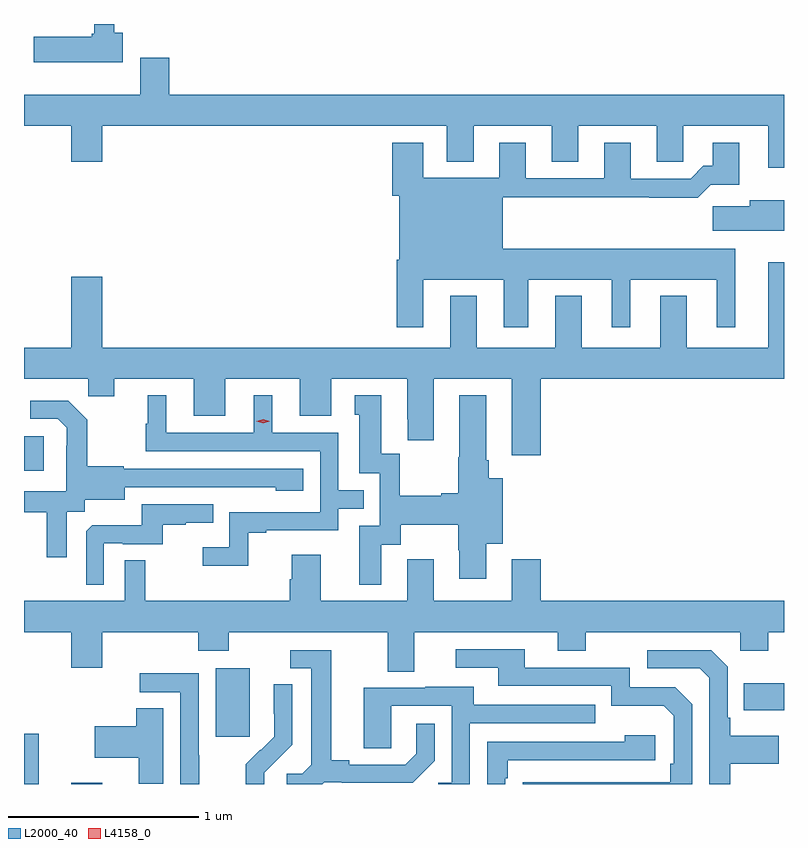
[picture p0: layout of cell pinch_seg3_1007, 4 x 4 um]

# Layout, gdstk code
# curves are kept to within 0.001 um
import gdstk
lib = gdstk.Library(unit=1e-6, precision=1e-09)
def R(c, l, rs):  # rectangles x0, y0, x1, y1
    for r in rs: c.add(gdstk.rectangle(r[:2], r[2:], *l))
def P(c, l, *ps):  # polygons
    for p in ps: c.add(gdstk.Polygon(p, *l))
L2000_40 = (2000, 40)
L4158_0 = (4158, 0)

pinch_seg3_1007 = lib.new_cell('pinch_seg3_1007')
R(pinch_seg3_1007, L2000_40, [(380.543,674.808,380.62,675.072), (380.792,674.808,380.956,674.815), (381.551,675.057,381.73,675.418), (384.331,675.197,384.543,675.337), (380.543,676.458,380.647,676.638)])
P(pinch_seg3_1007, L2000_40, [(381.064,678.762),(381.019,678.762),(381.019,678.808),(380.912,678.808),(380.912,678.756),(380.899,678.756),(380.899,678.742),(380.595,678.742),(380.595,678.608),(381.064,678.608)],
  [(381.308,678.631),(381.155,678.631),(381.155,678.436),(380.543,678.436),(380.543,678.272),(380.792,678.272),(380.792,678.084),(380.956,678.084),(380.956,678.272),(382.769,678.272),(382.769,678.083),(382.909,678.083),(382.909,678.272),(383.321,678.272),(383.321,678.082),(383.461,678.082),(383.461,678.272),(383.873,678.272),(383.873,678.082),(384.012,678.082),(384.012,678.272),(384.461,678.272),(384.461,678.051),(384.543,678.051),(384.543,678.436),(381.308,678.436)],
  [(382.645,677.462),(383.069,677.462),(383.069,677.211),(383.197,677.211),(383.197,677.462),(383.636,677.462),(383.636,677.211),(383.734,677.211),(383.734,677.462),(384.188,677.462),(384.188,677.211),(384.286,677.211),(384.286,677.626),(383.062,677.626),(383.062,677.896),(383.833,677.896),(383.833,677.894),(384.089,677.894),(384.158,677.963),(384.307,677.963),(384.307,678.184),(384.167,678.184),(384.167,678.061),(384.118,678.061),(384.051,677.994),(383.737,677.994),(383.737,678.184),(383.597,678.184),(383.597,677.997),(383.185,677.997),(383.185,678.184),(383.045,678.184),(383.045,677.998),(382.645,677.998),(382.645,678.184),(382.481,678.184),(382.481,677.904),(382.517,677.904),(382.517,677.566),(382.505,677.566),(382.505,677.211),(382.645,677.211)],
  [(384.543,677.881),(384.362,677.881),(384.362,677.849),(384.168,677.849),(384.168,677.72),(384.543,677.72)],
  [(383.264,676.94),(384.543,676.94),(384.543,677.554),(384.461,677.554),(384.461,677.104),(384.031,677.104),(384.031,677.377),(383.891,677.377),(383.891,677.104),(383.479,677.104),(383.479,677.377),(383.339,677.377),(383.339,677.104),(382.927,677.104),(382.927,677.377),(382.787,677.377),(382.787,677.104),(380.956,677.104),(380.956,677.479),(380.792,677.479),(380.792,677.104),(380.543,677.104),(380.543,676.94),(380.881,676.94),(380.881,676.85),(381.019,676.85),(381.019,676.94),(381.437,676.94),(381.437,676.746),(381.601,676.746),(381.601,676.94),(381.995,676.94),(381.995,676.746),(382.159,676.746),(382.159,676.94),(382.559,676.94),(382.559,676.729),(382.562,676.729),(382.562,676.617),(382.699,676.617),(382.699,676.94),(383.111,676.94),(383.111,676.539),(383.264,676.539)],
  [(381.723,676.131),(381.817,676.131),(381.817,676.143),(382.197,676.143),(382.197,676.257),(382.331,676.257),(382.331,676.353),(382.197,676.353),(382.197,676.656),(381.85,676.656),(381.85,676.855),(381.752,676.855),(381.752,676.656),(381.292,676.656),(381.292,676.855),(381.194,676.855),(381.194,676.704),(381.183,676.704),(381.183,676.56),(382.101,676.56),(382.101,676.239),(381.624,676.239),(381.624,676.054),(381.483,676.054),(381.483,675.956),(381.723,675.956)],
  [(382.423,676.066),(382.525,676.066),(382.525,676.172),(382.828,676.172),(382.828,676.038),(382.835,676.038),(382.835,675.888),(382.975,675.888),(382.975,676.073),(383.062,676.073),(383.062,676.417),(382.988,676.417),(382.988,676.513),(382.975,676.513),(382.975,676.855),(382.835,676.855),(382.835,676.529),(382.828,676.529),(382.828,676.337),(382.739,676.337),(382.739,676.324),(382.521,676.324),(382.521,676.547),(382.423,676.547),(382.423,676.855),(382.283,676.855),(382.283,676.752),(382.307,676.752),(382.307,676.443),(382.416,676.443),(382.416,676.167),(382.307,676.167),(382.307,675.858),(382.423,675.858)],
  [(380.767,676.24),(380.862,676.24),(380.862,676.304),(381.073,676.304),(381.073,676.371),(381.867,676.37),(381.867,676.352),(382.012,676.352),(382.012,676.467),(381.069,676.467),(381.069,676.48),(380.877,676.48),(380.877,676.725),(380.777,676.825),(380.577,676.825),(380.577,676.731),(380.721,676.731),(380.768,676.684),(380.768,676.589),(380.766,676.589),(380.766,676.348),(380.543,676.348),(380.543,676.238),(380.663,676.238),(380.663,676.002),(380.767,676.002)],
  [(380.964,676.074),(381.064,676.074),(381.064,676.071),(381.272,676.071),(381.272,676.173),(381.395,676.173),(381.395,676.184),(381.539,676.184),(381.539,676.281),(381.162,676.281),(381.162,676.169),(380.903,676.169),(380.871,676.137),(380.871,675.857),(380.964,675.857)],
  [(382.597,675.608),(383.351,675.608),(383.351,675.509),(383.499,675.509),(383.499,675.608),(384.312,675.608),(384.312,675.509),(384.459,675.509),(384.459,675.608),(384.543,675.608),(384.543,675.772),(383.264,675.772),(383.264,675.991),(383.111,675.991),(383.111,675.772),(382.699,675.772),(382.699,675.991),(382.559,675.991),(382.559,675.772),(382.105,675.772),(382.105,676.015),(381.953,676.015),(381.953,675.885),(381.941,675.885),(381.941,675.772),(381.181,675.772),(381.181,675.986),(381.072,675.986),(381.072,675.772),(380.543,675.772),(380.543,675.608),(380.792,675.608),(380.792,675.42),(380.956,675.42),(380.956,675.608),(381.461,675.608),(381.461,675.509),(381.621,675.509),(381.621,675.608),(382.457,675.608),(382.457,675.4),(382.597,675.4)],
  [(384.06,675.228),(383.97,675.318),(383.73,675.318),(383.73,675.42),(383.179,675.42),(383.179,675.516),(382.815,675.516),(382.815,675.42),(383.039,675.42),(383.039,675.324),(383.634,675.324),(383.634,675.221),(383.911,675.221),(383.964,675.168),(383.964,674.914),(383.944,674.914),(383.944,674.817),(383.167,674.816),(383.167,674.808),(384.06,674.808)],
  [(384.259,674.914),(384.515,674.914),(384.515,675.061),(384.259,675.061),(384.259,675.157),(384.246,675.157),(384.246,675.426),(384.159,675.513),(383.823,675.513),(383.823,675.417),(384.099,675.417),(384.15,675.366),(384.15,674.808),(384.259,674.808)],
  [(382.122,674.817),(382.216,674.817),(382.216,674.814),(382.588,674.814),(382.704,674.93),(382.704,675.124),(382.607,675.124),(382.607,674.967),(382.55,674.91),(382.255,674.91),(382.255,674.933),(382.159,674.933),(382.159,675.513),(381.945,675.513),(381.945,675.417),(382.055,675.417),(382.055,674.909),(382.008,674.862),(381.927,674.862),(381.927,674.808),(382.113,674.808)],
  [(381.465,674.96),(381.462,674.96),(381.462,675.39),(381.153,675.39),(381.153,675.291),(381.366,675.291),(381.366,674.808),(381.465,674.808)],
  [(381.808,674.866),(381.954,675.014),(381.954,675.332),(381.858,675.332),(381.858,675.178),(381.86,675.178),(381.86,675.056),(381.789,674.985),(381.786,674.988),(381.709,674.911),(381.709,674.808),(381.808,674.808)],
  [(382.89,675.129),(383.549,675.129),(383.549,675.225),(382.909,675.225),(382.909,675.319),(382.655,675.319),(382.655,675.315),(382.331,675.315),(382.331,674.995),(382.476,674.995),(382.476,675.219),(382.794,675.219),(382.794,674.814),(382.722,674.814),(382.722,674.808),(382.89,674.808)],
  [(381.277,675.206),(381.134,675.206),(381.134,675.111),(380.916,675.111),(380.916,674.945),(381.146,674.945),(381.146,674.809),(381.277,674.809)],
  [(383.076,674.837),(383.089,674.837),(383.089,674.934),(383.866,674.934),(383.866,675.064),(383.705,675.064),(383.705,675.03),(382.98,675.03),(382.98,674.808),(383.076,674.808)])
P(pinch_seg3_1007, L4158_0, [(381.801,676.707),(381.766,676.717),(381.765,676.718),(381.766,676.718),(381.801,676.728),(381.836,676.718),(381.837,676.718),(381.836,676.717)])

lib.write_gds('pinch_seg3_1007.gds')
